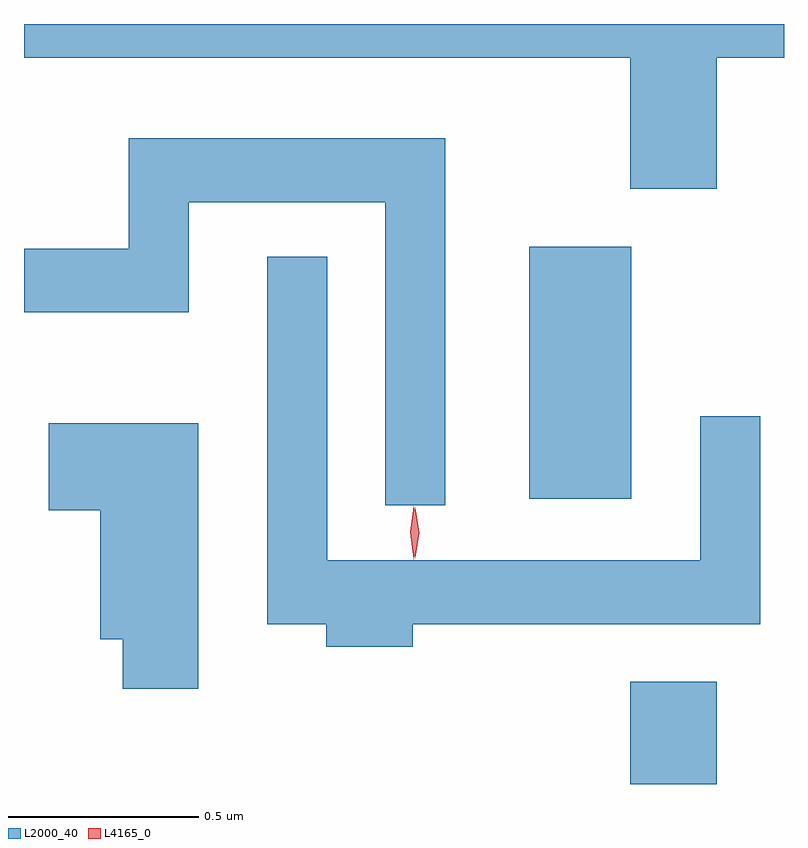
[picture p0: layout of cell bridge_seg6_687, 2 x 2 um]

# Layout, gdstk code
import gdstk
lib = gdstk.Library(unit=1e-6, precision=1e-09)
def R(c, l, rs):  # rectangles x0, y0, x1, y1
    for r in rs: c.add(gdstk.rectangle(r[:2], r[2:], *l))
def P(c, l, *ps):  # polygons
    for p in ps: c.add(gdstk.Polygon(p, *l))
L2000_40 = (2000, 40)
L4165_0 = (4165, 0)

bridge_seg6_687 = lib.new_cell('bridge_seg6_687')
R(bridge_seg6_687, L2000_40, [(311.721,1650.245,311.949,1650.514), (311.456,1650.996,311.724,1651.659)])
P(bridge_seg6_687, L2000_40, [(310.126,1652.156),(311.721,1652.156),(311.721,1651.811),(311.949,1651.811),(311.949,1652.156),(312.126,1652.156),(312.126,1652.245),(310.126,1652.245)],
  [(311.234,1651.944),(310.401,1651.944),(310.401,1651.654),(310.126,1651.654),(310.126,1651.486),(310.559,1651.486),(310.559,1651.776),(311.076,1651.776),(311.076,1650.978),(311.234,1650.978)],
  [(311.149,1650.666),(312.064,1650.666),(312.064,1651.213),(311.906,1651.213),(311.906,1650.834),(310.924,1650.834),(310.924,1651.633),(310.766,1651.633),(310.766,1650.666),(310.921,1650.666),(310.921,1650.606),(311.149,1650.606)],
  [(310.584,1651.194),(310.191,1651.194),(310.191,1650.966),(310.326,1650.966),(310.326,1650.626),(310.386,1650.626),(310.386,1650.496),(310.584,1650.496)])
P(bridge_seg6_687, L4165_0, [(311.152,1650.837),(311.151,1650.838),(311.142,1650.907),(311.151,1650.976),(311.152,1650.976),(311.152,1650.976),(311.162,1650.907),(311.152,1650.838)],
  [(311.156,1650.839),(311.155,1650.84),(311.146,1650.906),(311.155,1650.972),(311.156,1650.973),(311.156,1650.972),(311.166,1650.906),(311.156,1650.84)])

lib.write_gds('bridge_seg6_687.gds')
